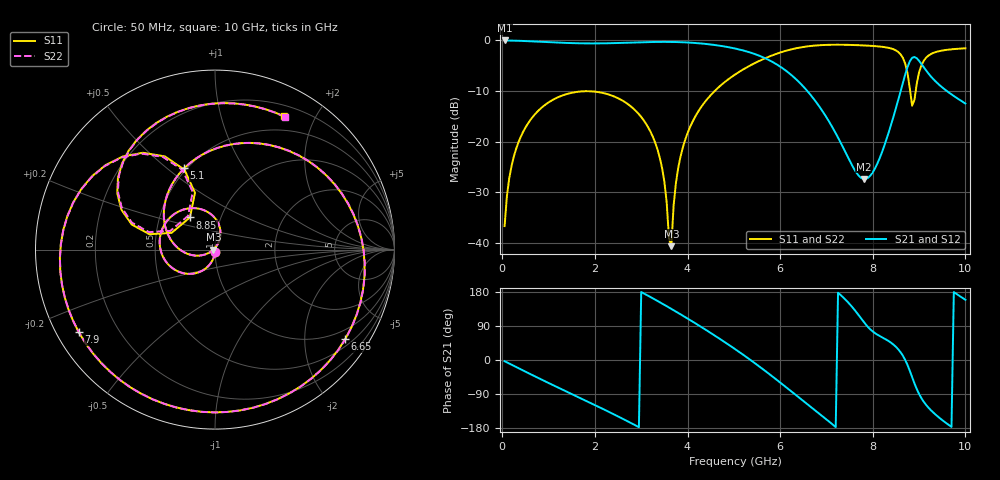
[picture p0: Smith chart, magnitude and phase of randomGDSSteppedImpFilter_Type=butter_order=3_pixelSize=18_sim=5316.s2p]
! freq	dB(S11)	phase(S11)	dB(S12)	phase(S12)
!  dB(S21)	phase(S21)	dB(S22)	phase(S22)
!S-par simulation data
#  GHz  S  DB  R 50
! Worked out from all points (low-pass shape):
!   200 points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, 50 MHz to 10 GHz, reference 50 ohm
!   highest |S21| = -0.01 dB at 50 MHz (marker M1); lowest = -27.4 dB at 7.8 GHz (marker M2)
!   |S21| within 3 dB of the highest: start of sweep to 5.546 GHz
!   lowest |S11| = -40.6 dB at 3.65 GHz (marker M3), VSWR 1.02, Z = 49.1 - j0.0188 ohm
!   |S11| at or under -10 dB: start of sweep to 4.585 GHz; 8.808 GHz to 8.927 GHz (119.2 MHz wide, 1.34 % of centre)
!   |S22| runs from -40.6 to -0.8 dB; largest |S21 - S12| = 0
!   S11 on the Smith chart (normalised r, x): 50 MHz: 1.00, -0.03; 5.1 GHz: 0.48, +0.57; 6.65 GHz: 0.69, -3.08; 7.9 GHz: 0.06, -0.28; 8.85 GHz: 0.71, +0.27; 10 GHz: 0.32, +1.59
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0.05  -36.65 -92.7  -0.01 -3.1  -0.01 -3.1  -36.64 -92.7
0.2  -24.78 -102.4  -0.03 -12.4  -0.03 -12.4  -24.78 -102.4
0.5  -17.20 -121.3  -0.13 -30.8  -0.13 -30.8  -17.20 -121.3
1.75  -10.04 165.1  -0.58 -104.4  -0.58 -104.4  -10.04 165.0
2.7  -12.50 108.8  -0.45 -161.3  -0.45 -161.3  -12.49 108.7
3.4  -23.12 66.2  -0.29 152.5  -0.29 152.5  -23.11 66.2
3.65  -40.61 -178.8  -0.30 134.9  -0.30 134.9  -40.61 -179.3
3.75  -28.09 -152.2  -0.32 127.8  -0.32 127.8  -28.09 -152.3
4  -18.31 -164.4  -0.41 109.5  -0.41 109.5  -18.31 -164.5
5.05  -6.59 115.0  -1.65 26.8  -1.65 26.8  -6.59 115.0
5.1  -6.30 110.8  -1.75 22.6  -1.75 22.6  -6.30 110.8
5.8  -3.05 47.8  -4.08 -40.3  -4.08 -40.3  -3.05 48.1
6.65  -1.11 -34.5  -10.67 -122.6  -10.67 -122.6  -1.10 -34.1
6.7  -1.06 -39.3  -11.24 -127.5  -11.24 -127.5  -1.06 -38.9
7.25  -0.85 -90.4  -19.18 177.6  -19.18 177.6  -0.85 -89.9
7.8  -0.99 -139.7  -27.36 101.2  -27.36 101.2  -0.99 -139.2
7.9  -1.04 -148.7  -27.11 86.6  -27.11 86.6  -1.03 -148.2
8.35  -1.48 167.1  -17.99 49.3  -17.99 49.3  -1.47 167.7
8.65  -3.44 126.7  -8.38 11.4  -8.38 11.4  -3.41 127.6
8.85  -12.88 127.9  -3.44 -45.2  -3.44 -45.2  -12.38 128.6
9.15  -3.43 143.4  -5.92 -118.2  -5.92 -118.2  -3.42 142.6
10  -1.55 62.8  -12.45 158.9  -12.45 158.9  -1.56 62.3
